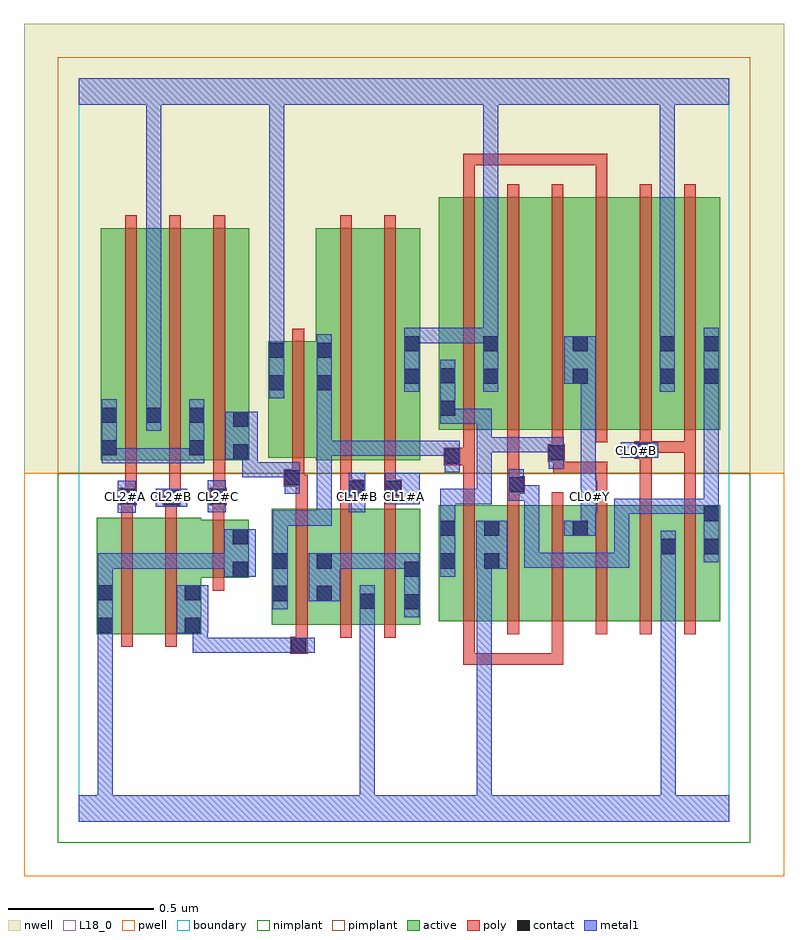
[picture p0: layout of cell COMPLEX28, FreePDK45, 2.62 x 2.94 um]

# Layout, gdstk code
import gdstk
lib = gdstk.Library(unit=1e-6, precision=1e-09)
def R(c, l, rs):  # rectangles x0, y0, x1, y1
    for r in rs: c.add(gdstk.rectangle(r[:2], r[2:], *l))
def A(c, l, x, y, w, h, nx, ny, dx, dy):  # array of equal rectangles
    R(c, l, [(x+i*dx, y+j*dy, x+i*dx+w, y+j*dy+h) for i in range(nx) for j in range(ny)])
active = (1, 0)
pwell = (2, 0)
nwell = (3, 0)
nimplant = (4, 0)
pimplant = (5, 0)
poly = (9, 0)
contact = (10, 0)
metal1 = (11, 0)
L18_0 = (18, 0)
boundary = (235, 0)

complex28 = lib.new_cell('COMPLEX28')
R(complex28, active, [(0.062,0.646,0.122,1.046), (0.062,0.646,0.242,1.046), (0.242,0.646,0.422,1.046), (0.362,0.646,0.422,0.84), (0.664,0.678,0.724,1.078), (0.664,0.678,0.876,1.078), (0.816,0.678,1.024,1.078), (0.964,0.678,1.176,1.078), (0.964,0.678,1.024,0.928), (1.116,0.678,1.176,1.078), (1.24,0.69,1.452,1.09), (1.392,0.69,1.452,1.09), (1.392,0.69,1.572,1.09), (1.572,0.69,1.756,1.09), (1.696,0.69,1.756,1.09), (1.696,0.69,1.876,1.09), (1.876,0.69,2.06,1.09), (2,0.69,2.208,1.09), (2,0.69,2.06,0.978), (2.148,0.69,2.208,1.09), (0.816,0.756,0.876,0.928), (1.24,0.756,1.3,1.09), (0.362,0.84,0.586,1.04), (0.526,0.84,0.586,1.04), (0.076,1.244,0.136,2.044), (0.076,1.244,0.288,2.044), (0.228,1.244,0.288,2.044), (0.228,1.244,0.436,2.044), (0.376,1.244,0.436,2.044), (0.376,1.244,0.588,2.044), (0.528,1.244,0.588,2.044), (0.816,1.244,0.996,2.044), (0.996,1.244,1.176,2.044), (1.116,1.244,1.176,2.044), (0.652,1.254,0.712,1.654), (0.652,1.254,0.876,1.654), (0.816,1.254,0.876,2.044), (1.24,1.35,1.3,2.15), (1.24,1.35,1.448,2.15), (1.388,1.35,1.448,2.15), (1.388,1.35,1.572,2.15), (1.572,1.35,1.756,2.15), (1.696,1.35,1.756,2.15), (1.696,1.35,1.876,2.15), (1.876,1.35,2.056,2.15), (1.996,1.35,2.056,2.15), (1.996,1.35,2.208,2.15), (2.148,1.35,2.208,2.15)])
R(complex28, pwell, [(-0.188,-0.188,2.428,1.2)])
R(complex28, nwell, [(-0.188,1.2,2.428,2.748)])
R(complex28, nimplant, [(-0.072,-0.072,2.312,1.2)])
R(complex28, pimplant, [(-0.072,1.2,2.312,2.632)])
A(complex28, poly, 0.748, 0.634, 0.04, 0.488, 3, 1, 0.152, 0)
A(complex28, poly, 1.324, 0.646, 0.04, 0.488, 6, 1, 0.152, 0)
A(complex28, poly, 0.16, 1.2, 0.04, 0.888, 3, 1, 0.152, 0)
A(complex28, poly, 1.324, 1.306, 0.04, 0.888, 6, 1, 0.152, 0)
R(complex28, poly, [(1.324,0.54,1.364,0.58), (1.324,0.54,1.364,0.58), (1.324,0.54,1.364,0.58), (1.324,0.54,1.364,0.686), (1.324,0.54,1.546,0.58), (1.506,0.54,1.546,0.58), (1.506,0.54,1.546,0.58), (1.506,0.54,1.546,0.58), (1.506,0.54,1.668,0.58), (1.628,0.54,1.668,0.58), (1.628,0.54,1.668,0.686), (0.728,0.578,0.788,0.638), (0.748,0.598,0.788,0.674), (0.146,0.602,0.186,1.09), (0.298,0.602,0.338,1.09), (0.462,0.796,0.502,1.084), (0.462,1.044,0.502,1.13), (0.146,1.05,0.186,1.13), (0.298,1.05,0.338,1.126), (0.748,1.082,0.788,1.194), (0.9,1.082,0.94,1.158), (1.052,1.082,1.092,1.158), (0.29,1.086,0.35,1.146), (0.14,1.09,0.2,1.15), (0.146,1.09,0.186,1.13), (0.146,1.09,0.186,1.13), (0.45,1.09,0.51,1.15), (0.462,1.09,0.502,1.13), (0.462,1.09,0.502,1.13), (1.324,1.094,1.364,1.268), (1.476,1.094,1.516,1.17), (1.78,1.094,1.82,1.24), (1.932,1.094,1.972,1.29), (2.084,1.094,2.124,1.31), (0.31,1.106,0.35,1.146), (0.31,1.106,0.352,1.146), (0.312,1.106,0.352,1.24), (0.16,1.11,0.2,1.24), (0.464,1.11,0.504,1.24), (0.9,1.118,0.986,1.178), (1.052,1.118,1.112,1.178), (1.476,1.13,1.536,1.19), (0.9,1.138,0.94,1.178), (0.9,1.138,0.94,1.178), (0.9,1.138,0.94,1.24), (1.052,1.138,1.092,1.178), (1.052,1.138,1.092,1.178), (1.052,1.138,1.092,1.24), (1.476,1.15,1.516,1.19), (1.476,1.15,1.516,1.19), (1.476,1.15,1.516,1.346), (0.706,1.154,0.776,1.214), (0.736,1.154,0.776,1.194), (0.736,1.154,0.788,1.194), (0.736,1.174,0.776,1.25), (0.9,1.2,0.94,2.088), (1.052,1.2,1.092,2.088), (1.634,1.2,1.82,1.24), (1.634,1.2,1.674,1.28), (1.78,1.2,1.82,1.24), (1.78,1.2,1.82,1.24), (1.78,1.2,1.82,1.24), (0.736,1.21,0.776,1.698), (1.256,1.228,1.364,1.288), (1.324,1.228,1.364,1.268), (1.324,1.228,1.364,1.268), (1.614,1.24,1.674,1.3), (1.634,1.24,1.674,1.28), (1.324,1.248,1.364,1.346), (1.912,1.25,1.972,1.31), (1.932,1.25,1.972,1.29), (1.932,1.25,1.972,1.29), (1.628,1.26,1.668,1.346), (1.932,1.27,1.972,1.346), (1.932,1.27,1.972,1.31), (1.932,1.27,1.972,1.31), (1.932,1.27,2.124,1.31), (2.084,1.27,2.124,1.346), (2.084,1.27,2.124,1.31), (2.084,1.27,2.124,1.31), (2.084,1.27,2.124,1.31), (1.324,2.154,1.364,2.3), (1.78,2.154,1.82,2.3), (1.324,2.26,1.364,2.3), (1.324,2.26,1.364,2.3), (1.324,2.26,1.364,2.3), (1.324,2.26,1.47,2.3), (1.43,2.26,1.47,2.3), (1.43,2.26,1.47,2.3), (1.43,2.26,1.47,2.3), (1.43,2.26,1.652,2.3), (1.612,2.26,1.652,2.3), (1.612,2.26,1.652,2.3), (1.612,2.26,1.652,2.3), (1.612,2.26,1.82,2.3), (1.78,2.26,1.82,2.3)])
R(complex28, contact, [(0.732,0.582,0.784,0.634), (0.066,0.65,0.118,0.702), (0.366,0.65,0.418,0.702), (1.12,0.732,1.172,0.784), (0.968,0.734,1.02,0.786), (0.668,0.76,0.72,0.812), (0.82,0.76,0.872,0.812), (0.066,0.762,0.118,0.814), (0.366,0.762,0.418,0.814), (0.53,0.844,0.582,0.896), (1.12,0.844,1.172,0.896), (0.668,0.872,0.72,0.924), (0.82,0.872,0.872,0.924), (1.244,0.872,1.296,0.924), (1.396,0.872,1.448,0.924), (2.004,0.922,2.056,0.974), (2.152,0.922,2.204,0.974), (0.53,0.956,0.582,1.008), (1.244,0.984,1.296,1.036), (1.396,0.984,1.448,1.036), (1.7,0.984,1.752,1.036), (2.152,1.034,2.204,1.086), (0.294,1.09,0.346,1.142), (0.144,1.094,0.196,1.146), (0.454,1.094,0.506,1.146), (0.93,1.122,0.982,1.174), (1.056,1.122,1.108,1.174), (1.48,1.134,1.532,1.186), (0.71,1.158,0.762,1.21), (1.26,1.232,1.312,1.284), (1.618,1.244,1.67,1.296), (0.532,1.248,0.584,1.3), (1.916,1.254,1.968,1.306), (0.08,1.262,0.132,1.314), (0.38,1.262,0.432,1.314), (0.532,1.36,0.584,1.412), (0.08,1.374,0.132,1.426), (0.232,1.374,0.284,1.426), (0.38,1.374,0.432,1.426), (1.244,1.398,1.296,1.45), (0.656,1.486,0.708,1.538), (0.82,1.486,0.872,1.538), (1.12,1.508,1.172,1.56), (1.392,1.508,1.444,1.56), (1.7,1.508,1.752,1.56), (2,1.508,2.052,1.56), (2.152,1.508,2.204,1.56), (1.244,1.51,1.296,1.562), (0.656,1.598,0.708,1.65), (0.82,1.598,0.872,1.65), (1.12,1.62,1.172,1.672), (1.392,1.62,1.444,1.672), (1.7,1.62,1.752,1.672), (2,1.62,2.052,1.672), (2.152,1.62,2.204,1.672)])
R(complex28, metal1, [(0,0,2.24,0.092), (0.066,0.04,0.118,0.092), (0.066,0.04,0.118,0.092), (0.066,0.04,0.118,0.092), (0.066,0.04,0.118,0.092), (0.066,0.04,0.118,0.092), (0.066,0.04,0.118,0.092), (0.066,0.04,0.118,0.092), (0.066,0.04,0.118,0.092), (0.066,0.04,0.118,0.092), (0.066,0.04,0.118,0.092), (0.066,0.04,0.118,0.092), (0.066,0.04,0.118,0.092), (0.066,0.04,0.118,0.674), (0.968,0.04,1.02,0.092), (0.968,0.04,1.02,0.092), (0.968,0.04,1.02,0.092), (0.968,0.04,1.02,0.092), (0.968,0.04,1.02,0.092), (0.968,0.04,1.02,0.092), (0.968,0.04,1.02,0.092), (0.968,0.04,1.02,0.092), (0.968,0.04,1.02,0.092), (0.968,0.04,1.02,0.092), (0.968,0.04,1.02,0.758), (1.37,0.04,1.422,0.092), (1.37,0.04,1.422,0.092), (1.37,0.04,1.422,0.092), (1.37,0.04,1.422,0.092), (1.37,0.04,1.422,0.092), (1.37,0.04,1.422,0.092), (1.37,0.04,1.422,0.092), (1.37,0.04,1.422,0.092), (1.37,0.04,1.422,0.092), (1.37,0.04,1.422,0.092), (1.37,0.04,1.422,0.924), (2.004,0.04,2.056,0.092), (2.004,0.04,2.056,0.092), (2.004,0.04,2.056,0.092), (2.004,0.04,2.056,0.092), (2.004,0.04,2.056,0.092), (2.004,0.04,2.056,0.092), (2.004,0.04,2.056,0.092), (2.004,0.04,2.056,0.092), (2.004,0.04,2.056,0.092), (2.004,0.04,2.056,0.092), (2.004,0.04,2.056,0.946), (0.392,0.582,0.444,0.634), (0.392,0.582,0.444,0.634), (0.392,0.582,0.444,0.634), (0.392,0.582,0.616,0.634), (0.392,0.582,0.444,0.702), (0.564,0.582,0.616,0.634), (0.564,0.582,0.616,0.634), (0.564,0.582,0.616,0.634), (0.564,0.582,0.756,0.634), (0.704,0.582,0.812,0.634), (0.066,0.622,0.118,0.842), (0.338,0.65,0.446,0.814), (1.12,0.704,1.172,0.924), (0.968,0.706,1.02,0.758), (0.968,0.706,1.02,0.758), (0.968,0.706,1.02,0.814), (0.668,0.732,0.72,0.952), (0.792,0.76,0.9,0.924), (0.066,0.79,0.118,0.924), (0.502,0.844,0.61,1.008), (1.244,0.844,1.296,1.064), (0.066,0.872,0.118,0.924), (0.066,0.872,0.118,0.924), (0.066,0.872,0.118,0.924), (0.066,0.872,0.118,0.924), (0.066,0.872,0.118,0.924), (0.066,0.872,0.118,0.924), (0.066,0.872,0.118,0.924), (0.066,0.872,0.28,0.924), (0.228,0.872,0.28,0.924), (0.228,0.872,0.28,0.924), (0.228,0.872,0.28,0.924), (0.228,0.872,0.444,0.924), (0.392,0.872,0.444,0.924), (0.392,0.872,0.444,0.924), (0.392,0.872,0.444,0.924), (0.392,0.872,0.554,0.924), (0.848,0.872,0.9,0.924), (0.848,0.872,0.9,0.924), (0.848,0.872,1.062,0.924), (1.01,0.872,1.062,0.924), (1.01,0.872,1.062,0.924), (1.01,0.872,1.062,0.924), (1.01,0.872,1.172,0.924), (1.368,0.872,1.476,1.036), (1.37,0.872,1.422,0.924), (1.37,0.872,1.422,0.924), (1.534,0.874,1.586,0.926), (1.534,0.874,1.67,0.926), (1.534,0.874,1.586,1.158), (1.618,0.874,1.67,0.926), (1.618,0.874,1.78,0.926), (1.728,0.874,1.78,0.926), (1.728,0.874,1.78,0.926), (1.728,0.874,1.78,0.926), (1.728,0.874,1.896,0.926), (1.844,0.874,1.896,0.926), (1.844,0.874,1.896,1.112), (2.004,0.894,2.056,0.946), (2.004,0.894,2.056,0.946), (2.004,0.894,2.056,1.002), (2.152,0.894,2.204,1.114), (0.668,0.9,0.72,1.072), (1.672,0.984,1.78,1.036), (1.728,0.984,1.78,1.118), (1.244,1.012,1.296,1.146), (0.668,1.02,0.72,1.072), (0.668,1.02,0.726,1.072), (0.674,1.02,0.726,1.072), (0.674,1.02,0.872,1.072), (0.82,1.02,0.872,1.072), (0.82,1.02,0.872,1.312), (1.844,1.06,1.896,1.112), (1.844,1.06,1.896,1.112), (1.844,1.06,1.896,1.112), (1.844,1.06,2.006,1.112), (1.954,1.06,2.006,1.112), (1.954,1.06,2.204,1.112), (2.152,1.06,2.204,1.112), (2.152,1.06,2.204,1.112), (2.152,1.062,2.204,1.114), (2.152,1.062,2.204,1.114), (2.152,1.062,2.204,1.532), (0.134,1.064,0.196,1.174), (0.444,1.066,0.506,1.176), (0.93,1.066,0.986,1.202), (1.728,1.066,1.786,1.174), (0.266,1.084,0.374,1.146), (1.056,1.094,1.174,1.202), (1.244,1.094,1.296,1.146), (1.244,1.094,1.296,1.146), (1.244,1.094,1.296,1.146), (1.244,1.094,1.422,1.146), (1.37,1.094,1.422,1.146), (1.37,1.094,1.422,1.324), (1.48,1.106,1.532,1.214), (1.48,1.106,1.586,1.158), (1.534,1.106,1.586,1.158), (1.534,1.106,1.586,1.158), (1.534,1.106,1.586,1.158), (1.728,1.122,1.78,1.174), (1.728,1.122,1.78,1.174), (1.728,1.122,1.78,1.56), (0.71,1.13,0.762,1.238), (0.564,1.186,0.616,1.238), (0.564,1.186,0.616,1.238), (0.564,1.186,0.616,1.238), (0.564,1.186,0.762,1.238), (0.564,1.186,0.616,1.3), (1.26,1.204,1.312,1.312), (1.618,1.216,1.67,1.324), (0.08,1.234,0.132,1.286), (0.08,1.234,0.132,1.286), (0.08,1.234,0.132,1.454), (0.08,1.234,0.28,1.286), (0.228,1.234,0.28,1.286), (0.228,1.234,0.28,1.286), (0.228,1.234,0.28,1.286), (0.228,1.234,0.432,1.286), (0.38,1.234,0.432,1.454), (0.504,1.248,0.616,1.412), (1.866,1.254,1.996,1.306), (0.82,1.26,0.872,1.312), (0.82,1.26,0.872,1.312), (0.82,1.26,0.872,1.312), (0.82,1.26,1.062,1.312), (0.82,1.26,0.872,1.51), (1.01,1.26,1.062,1.312), (1.01,1.26,1.062,1.312), (1.01,1.26,1.062,1.312), (1.01,1.26,1.186,1.312), (1.134,1.26,1.186,1.312), (1.134,1.26,1.186,1.312), (1.134,1.26,1.186,1.312), (1.134,1.26,1.312,1.312), (1.37,1.272,1.422,1.324), (1.37,1.272,1.56,1.324), (1.37,1.272,1.422,1.422), (1.508,1.272,1.56,1.324), (1.508,1.272,1.56,1.324), (1.508,1.272,1.56,1.324), (1.508,1.272,1.67,1.324), (0.232,1.346,0.284,1.454), (1.244,1.37,1.296,1.59), (1.244,1.37,1.422,1.422), (1.37,1.37,1.422,1.422), (1.37,1.37,1.422,1.422), (1.37,1.37,1.422,1.422), (0.232,1.402,0.284,1.454), (0.232,1.402,0.284,1.454), (0.232,1.402,0.284,1.454), (0.232,1.402,0.284,1.454), (0.232,1.402,0.284,2.52), (0.656,1.458,0.708,1.678), (0.82,1.458,0.872,1.678), (1.12,1.48,1.172,1.7), (1.392,1.48,1.444,1.7), (2,1.48,2.052,1.7), (2.152,1.48,2.204,1.532), (2.152,1.48,2.204,1.532), (2.152,1.48,2.204,1.7), (1.672,1.508,1.78,1.672), (0.656,1.626,0.708,2.52), (1.12,1.648,1.172,1.7), (1.12,1.648,1.172,1.7), (1.12,1.648,1.422,1.7), (1.37,1.648,1.422,1.7), (1.37,1.648,1.444,1.7), (1.392,1.648,1.444,2.52), (2,1.648,2.052,2.52), (0,2.468,2.24,2.56), (0.232,2.468,0.284,2.52), (0.232,2.468,0.284,2.52), (0.232,2.468,0.284,2.52), (0.232,2.468,0.284,2.52), (0.656,2.468,0.708,2.52), (0.656,2.468,0.708,2.52), (0.656,2.468,0.708,2.52), (0.656,2.468,0.708,2.52), (0.656,2.468,0.708,2.52), (0.656,2.468,0.708,2.52), (0.656,2.468,0.708,2.52), (0.656,2.468,0.708,2.52), (0.656,2.468,0.708,2.52), (0.656,2.468,0.708,2.52), (0.656,2.468,0.708,2.52), (0.656,2.468,0.708,2.52), (0.656,2.468,0.708,2.52), (0.656,2.468,0.708,2.52), (0.656,2.468,0.708,2.52), (0.656,2.468,0.708,2.52), (1.392,2.468,1.444,2.52), (1.392,2.468,1.444,2.52), (1.392,2.468,1.444,2.52), (1.392,2.468,1.444,2.52), (1.392,2.468,1.444,2.52), (1.392,2.468,1.444,2.52), (1.392,2.468,1.444,2.52), (1.392,2.468,1.444,2.52), (2,2.468,2.052,2.52), (2,2.468,2.052,2.52), (2,2.468,2.052,2.52), (2,2.468,2.052,2.52), (2,2.468,2.052,2.52), (2,2.468,2.052,2.52), (2,2.468,2.052,2.52), (2,2.468,2.052,2.52)])
A(complex28, L18_0, 0.134, 1.094, 0.052, 0.052, 3, 1, 0.16, 0)
R(complex28, L18_0, [(0,0,2.24,0.092), (0.066,0.04,0.118,0.092), (0.066,0.04,0.118,0.092), (0.066,0.04,0.118,0.092), (0.066,0.04,0.118,0.092), (0.066,0.04,0.118,0.092), (0.066,0.04,0.118,0.092), (0.066,0.04,0.118,0.092), (0.066,0.04,0.118,0.092), (0.066,0.04,0.118,0.092), (0.066,0.04,0.118,0.092), (0.066,0.04,0.118,0.092), (0.066,0.04,0.118,0.092), (0.066,0.04,0.118,0.674), (0.968,0.04,1.02,0.092), (0.968,0.04,1.02,0.092), (0.968,0.04,1.02,0.092), (0.968,0.04,1.02,0.092), (0.968,0.04,1.02,0.092), (0.968,0.04,1.02,0.092), (0.968,0.04,1.02,0.092), (0.968,0.04,1.02,0.092), (0.968,0.04,1.02,0.092), (0.968,0.04,1.02,0.092), (0.968,0.04,1.02,0.758), (1.37,0.04,1.422,0.092), (1.37,0.04,1.422,0.092), (1.37,0.04,1.422,0.092), (1.37,0.04,1.422,0.092), (1.37,0.04,1.422,0.092), (1.37,0.04,1.422,0.092), (1.37,0.04,1.422,0.092), (1.37,0.04,1.422,0.092), (1.37,0.04,1.422,0.092), (1.37,0.04,1.422,0.092), (1.37,0.04,1.422,0.924), (2.004,0.04,2.056,0.092), (2.004,0.04,2.056,0.092), (2.004,0.04,2.056,0.092), (2.004,0.04,2.056,0.092), (2.004,0.04,2.056,0.092), (2.004,0.04,2.056,0.092), (2.004,0.04,2.056,0.092), (2.004,0.04,2.056,0.092), (2.004,0.04,2.056,0.092), (2.004,0.04,2.056,0.092), (2.004,0.04,2.056,0.946), (0.066,0.622,0.118,0.842), (0.968,0.706,1.02,0.758), (0.968,0.706,1.02,0.758), (0.968,0.706,1.02,0.814), (0.066,0.79,0.118,0.924), (0.502,0.844,0.61,1.008), (0.066,0.872,0.118,0.924), (0.066,0.872,0.118,0.924), (0.066,0.872,0.118,0.924), (0.066,0.872,0.118,0.924), (0.066,0.872,0.118,0.924), (0.066,0.872,0.118,0.924), (0.066,0.872,0.118,0.924), (0.066,0.872,0.28,0.924), (0.228,0.872,0.28,0.924), (0.228,0.872,0.28,0.924), (0.228,0.872,0.28,0.924), (0.228,0.872,0.444,0.924), (0.392,0.872,0.444,0.924), (0.392,0.872,0.444,0.924), (0.392,0.872,0.444,0.924), (0.392,0.872,0.554,0.924), (1.368,0.872,1.476,1.036), (1.37,0.872,1.422,0.924), (1.37,0.872,1.422,0.924), (2.004,0.894,2.056,0.946), (2.004,0.894,2.056,0.946), (2.004,0.894,2.056,1.002), (1.672,0.984,1.78,1.036), (1.728,0.984,1.78,1.118), (0.134,1.064,0.196,1.174), (0.444,1.066,0.506,1.176), (0.93,1.066,0.986,1.202), (1.728,1.066,1.786,1.174), (0.266,1.084,0.374,1.146), (0.934,1.094,0.986,1.146), (1.056,1.094,1.174,1.202), (1.094,1.094,1.146,1.146), (1.734,1.094,1.786,1.146), (1.728,1.122,1.78,1.174), (1.728,1.122,1.78,1.174), (1.728,1.122,1.78,1.56), (1.866,1.254,1.996,1.306), (1.894,1.254,1.946,1.306), (0.232,1.346,0.284,1.454), (0.232,1.402,0.284,1.454), (0.232,1.402,0.284,1.454), (0.232,1.402,0.284,1.454), (0.232,1.402,0.284,1.454), (0.232,1.402,0.284,2.52), (0.656,1.458,0.708,1.678), (1.12,1.48,1.172,1.7), (1.392,1.48,1.444,1.7), (2,1.48,2.052,1.7), (1.672,1.508,1.78,1.672), (0.656,1.626,0.708,2.52), (1.12,1.648,1.172,1.7), (1.12,1.648,1.172,1.7), (1.12,1.648,1.422,1.7), (1.37,1.648,1.422,1.7), (1.37,1.648,1.444,1.7), (1.392,1.648,1.444,2.52), (2,1.648,2.052,2.52), (0,2.468,2.24,2.56), (0.232,2.468,0.284,2.52), (0.232,2.468,0.284,2.52), (0.232,2.468,0.284,2.52), (0.232,2.468,0.284,2.52), (0.656,2.468,0.708,2.52), (0.656,2.468,0.708,2.52), (0.656,2.468,0.708,2.52), (0.656,2.468,0.708,2.52), (0.656,2.468,0.708,2.52), (0.656,2.468,0.708,2.52), (0.656,2.468,0.708,2.52), (0.656,2.468,0.708,2.52), (0.656,2.468,0.708,2.52), (0.656,2.468,0.708,2.52), (0.656,2.468,0.708,2.52), (0.656,2.468,0.708,2.52), (0.656,2.468,0.708,2.52), (0.656,2.468,0.708,2.52), (0.656,2.468,0.708,2.52), (0.656,2.468,0.708,2.52), (1.392,2.468,1.444,2.52), (1.392,2.468,1.444,2.52), (1.392,2.468,1.444,2.52), (1.392,2.468,1.444,2.52), (1.392,2.468,1.444,2.52), (1.392,2.468,1.444,2.52), (1.392,2.468,1.444,2.52), (1.392,2.468,1.444,2.52), (2,2.468,2.052,2.52), (2,2.468,2.052,2.52), (2,2.468,2.052,2.52), (2,2.468,2.052,2.52), (2,2.468,2.052,2.52), (2,2.468,2.052,2.52), (2,2.468,2.052,2.52), (2,2.468,2.052,2.52)])
R(complex28, boundary, [(0,0,2.24,2.56)])
complex28.add(gdstk.Label('CL0#B', (1.92,1.28), layer=11, texttype=0))
complex28.add(gdstk.Label('CL0#Y', (1.76,1.12), layer=11, texttype=0))
complex28.add(gdstk.Label('CL1#A', (1.12,1.12), layer=11, texttype=0))
complex28.add(gdstk.Label('CL1#B', (0.96,1.12), layer=11, texttype=0))
complex28.add(gdstk.Label('CL2#A', (0.16,1.12), layer=11, texttype=0))
complex28.add(gdstk.Label('CL2#B', (0.32,1.12), layer=11, texttype=0))
complex28.add(gdstk.Label('CL2#C', (0.48,1.12), layer=11, texttype=0))

lib.write_gds('COMPLEX28.gds')
